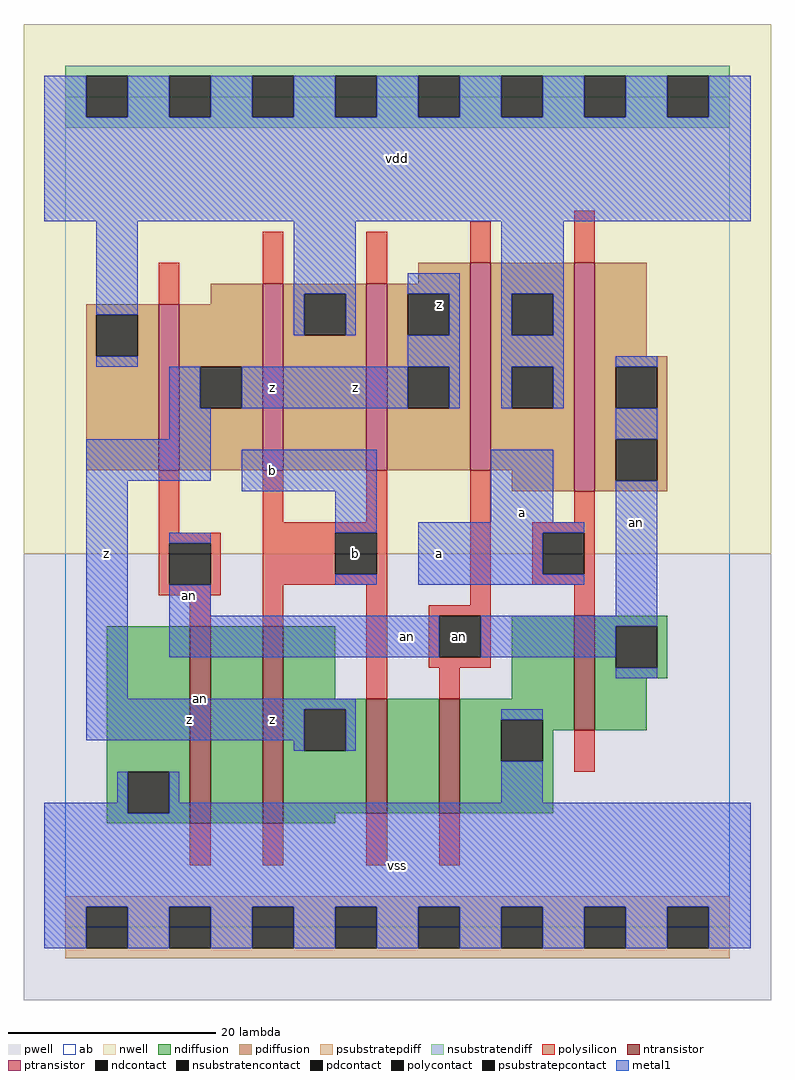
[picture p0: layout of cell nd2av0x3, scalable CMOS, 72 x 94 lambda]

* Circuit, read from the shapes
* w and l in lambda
.subckt nd2av0x3 a an b vdd vss z
M1 n1 an vss vss nfet w=19 l=2
M2 z b n1 vss nfet w=19 l=2
M3 n2 b z vss nfet w=11 l=2
M4 vss an n2 vss nfet w=11 l=2
M5 an a vss vss nfet w=11 l=2
M6 z an vdd vdd pfet w=16 l=2
M7 vdd b z vdd pfet w=18 l=2 m=2
M8 vdd an z vdd pfet w=20 l=2
M9 an a vdd vdd pfet w=22 l=2
.ends

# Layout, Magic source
magic
tech scmos
<< ab >>
rect 0 0 64 80
<< pwell >>
rect -4 -7 68 36
<< nwell >>
rect -4 36 68 87
<< polysilicon >>
rect 9 60 11 64
rect 19 62 21 67
rect 29 62 31 67
rect 39 64 41 68
rect 49 64 51 69
rect 9 38 11 44
rect 19 39 21 44
rect 29 39 31 44
rect 19 38 31 39
rect 9 37 15 38
rect 9 33 10 37
rect 14 33 15 37
rect 9 32 15 33
rect 19 34 26 38
rect 30 34 31 38
rect 19 33 31 34
rect 12 29 14 32
rect 19 29 21 33
rect 29 22 31 33
rect 39 31 41 44
rect 49 39 51 42
rect 45 38 51 39
rect 45 34 46 38
rect 50 34 51 38
rect 45 33 51 34
rect 35 30 41 31
rect 49 30 51 33
rect 35 26 36 30
rect 40 26 41 30
rect 35 25 41 26
rect 36 22 38 25
rect 49 15 51 19
rect 12 6 14 10
rect 19 6 21 10
rect 29 6 31 11
rect 36 6 38 11
<< ndiffusion >>
rect 4 15 12 29
rect 4 11 6 15
rect 10 11 12 15
rect 4 10 12 11
rect 14 10 19 29
rect 21 22 26 29
rect 43 22 49 30
rect 21 21 29 22
rect 21 17 23 21
rect 27 17 29 21
rect 21 11 29 17
rect 31 11 36 22
rect 38 20 49 22
rect 38 16 42 20
rect 46 19 49 20
rect 51 29 58 30
rect 51 25 53 29
rect 57 25 58 29
rect 51 24 58 25
rect 51 19 56 24
rect 46 16 47 19
rect 38 11 47 16
rect 21 10 26 11
<< pdiffusion >>
rect 34 62 39 64
rect 14 60 19 62
rect 2 59 9 60
rect 2 55 3 59
rect 7 55 9 59
rect 2 44 9 55
rect 11 54 19 60
rect 11 50 13 54
rect 17 50 19 54
rect 11 44 19 50
rect 21 61 29 62
rect 21 57 23 61
rect 27 57 29 61
rect 21 44 29 57
rect 31 61 39 62
rect 31 57 33 61
rect 37 57 39 61
rect 31 54 39 57
rect 31 50 33 54
rect 37 50 39 54
rect 31 44 39 50
rect 41 61 49 64
rect 41 57 43 61
rect 47 57 49 61
rect 41 54 49 57
rect 41 50 43 54
rect 47 50 49 54
rect 41 44 49 50
rect 43 42 49 44
rect 51 55 56 64
rect 51 54 58 55
rect 51 50 53 54
rect 57 50 58 54
rect 51 47 58 50
rect 51 43 53 47
rect 57 43 58 47
rect 51 42 58 43
<< metal1 >>
rect -2 78 2 82
rect 6 78 10 82
rect 14 78 18 82
rect 22 78 26 82
rect 30 78 34 82
rect 38 78 42 82
rect 46 78 50 82
rect 54 78 58 82
rect 62 78 66 82
rect -2 68 66 78
rect 3 59 7 68
rect 22 61 28 68
rect 22 57 23 61
rect 27 57 28 61
rect 33 61 38 63
rect 37 57 38 61
rect 3 54 7 55
rect 33 54 38 57
rect 10 50 13 54
rect 17 50 33 54
rect 37 50 38 54
rect 42 61 48 68
rect 42 57 43 61
rect 47 57 48 61
rect 42 54 48 57
rect 42 50 43 54
rect 47 50 48 54
rect 53 54 57 55
rect 10 47 14 50
rect 2 43 14 47
rect 53 47 57 50
rect 2 22 6 43
rect 17 42 30 46
rect 26 38 30 42
rect 41 39 47 46
rect 10 37 14 38
rect 26 33 30 34
rect 34 38 50 39
rect 34 34 46 38
rect 34 33 50 34
rect 10 30 14 33
rect 53 30 57 43
rect 10 26 36 30
rect 40 29 57 30
rect 40 26 53 29
rect 53 24 57 25
rect 2 21 28 22
rect 2 18 23 21
rect 22 17 23 18
rect 27 17 28 21
rect 42 20 46 21
rect 5 12 6 15
rect -2 11 6 12
rect 10 12 11 15
rect 42 12 46 16
rect 10 11 66 12
rect -2 2 66 11
rect -2 -2 2 2
rect 6 -2 10 2
rect 14 -2 18 2
rect 22 -2 26 2
rect 30 -2 34 2
rect 38 -2 42 2
rect 46 -2 50 2
rect 54 -2 58 2
rect 62 -2 66 2
<< ntransistor >>
rect 12 10 14 29
rect 19 10 21 29
rect 29 11 31 22
rect 36 11 38 22
rect 49 19 51 30
<< ptransistor >>
rect 9 44 11 60
rect 19 44 21 62
rect 29 44 31 62
rect 39 44 41 64
rect 49 42 51 64
<< polycontact >>
rect 10 33 14 37
rect 26 34 30 38
rect 46 34 50 38
rect 36 26 40 30
<< ndcontact >>
rect 6 11 10 15
rect 23 17 27 21
rect 42 16 46 20
rect 53 25 57 29
<< pdcontact >>
rect 3 55 7 59
rect 13 50 17 54
rect 23 57 27 61
rect 33 57 37 61
rect 33 50 37 54
rect 43 57 47 61
rect 43 50 47 54
rect 53 50 57 54
rect 53 43 57 47
<< psubstratepcontact >>
rect 2 -2 6 2
rect 10 -2 14 2
rect 18 -2 22 2
rect 26 -2 30 2
rect 34 -2 38 2
rect 42 -2 46 2
rect 50 -2 54 2
rect 58 -2 62 2
<< nsubstratencontact >>
rect 2 78 6 82
rect 10 78 14 82
rect 18 78 22 82
rect 26 78 30 82
rect 34 78 38 82
rect 42 78 46 82
rect 50 78 54 82
rect 58 78 62 82
<< psubstratepdiff >>
rect 0 2 64 3
rect 0 -2 2 2
rect 6 -2 10 2
rect 14 -2 18 2
rect 22 -2 26 2
rect 30 -2 34 2
rect 38 -2 42 2
rect 46 -2 50 2
rect 54 -2 58 2
rect 62 -2 64 2
rect 0 -3 64 -2
<< nsubstratendiff >>
rect 0 82 64 83
rect 0 78 2 82
rect 6 78 10 82
rect 14 78 18 82
rect 22 78 26 82
rect 30 78 34 82
rect 38 78 42 82
rect 46 78 50 82
rect 54 78 58 82
rect 62 78 64 82
rect 0 77 64 78
<< labels >>
rlabel ntransistor 13 22 13 22 6 an
rlabel polycontact 38 28 38 28 6 an
rlabel metal1 4 36 4 36 6 z
rlabel metal1 12 20 12 20 6 z
rlabel metal1 20 20 20 20 6 z
rlabel metal1 12 32 12 32 6 an
rlabel metal1 20 44 20 44 6 b
rlabel metal1 20 52 20 52 6 z
rlabel metal1 32 6 32 6 6 vss
rlabel polycontact 28 36 28 36 6 b
rlabel metal1 36 36 36 36 6 a
rlabel metal1 28 52 28 52 6 z
rlabel pdcontact 36 60 36 60 6 z
rlabel metal1 32 74 32 74 6 vdd
rlabel metal1 44 40 44 40 6 a
rlabel metal1 33 28 33 28 6 an
rlabel metal1 55 39 55 39 6 an
<< end >>
